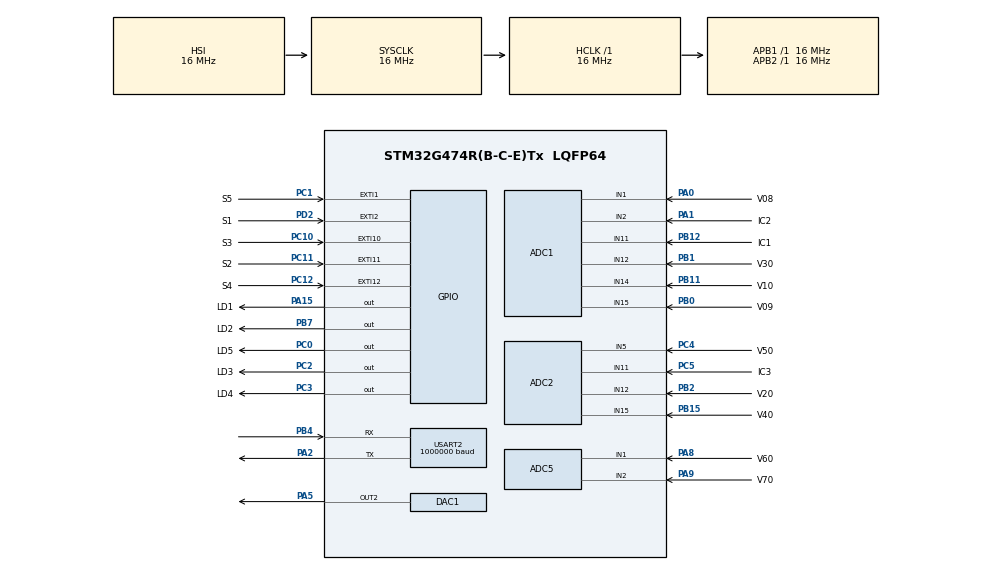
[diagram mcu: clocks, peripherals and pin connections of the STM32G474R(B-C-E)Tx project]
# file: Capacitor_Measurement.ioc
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ADC1.Channel-2\#ChannelRegularConversion=ADC_CHANNEL_1
ADC1.Channel-3\#ChannelRegularConversion=ADC_CHANNEL_2
ADC1.Channel-4\#ChannelRegularConversion=ADC_CHANNEL_11
ADC1.Channel-5\#ChannelRegularConversion=ADC_CHANNEL_12
ADC1.Channel-6\#ChannelRegularConversion=ADC_CHANNEL_14
ADC1.Channel-7\#ChannelRegularConversion=ADC_CHANNEL_15
ADC1.Channel-8\#ChannelRegularConversion=ADC_CHANNEL_VREFINT
ADC1.ClockPrescaler=ADC_CLOCK_ASYNC_DIV1
ADC1.DMAContinuousRequests=ENABLE
ADC1.ExternalTrigConv=ADC_EXTERNALTRIG_T3_TRGO
ADC1.NbrOfConversion=7
ADC1.NbrOfConversionFlag=1
ADC1.OffsetNumber-2\#ChannelRegularConversion=ADC_OFFSET_NONE
ADC1.OffsetNumber-3\#ChannelRegularConversion=ADC_OFFSET_NONE
ADC1.OffsetNumber-4\#ChannelRegularConversion=ADC_OFFSET_NONE
ADC1.OffsetNumber-5\#ChannelRegularConversion=ADC_OFFSET_NONE
ADC1.OffsetNumber-6\#ChannelRegularConversion=ADC_OFFSET_NONE
ADC1.OffsetNumber-7\#ChannelRegularConversion=ADC_OFFSET_NONE
ADC1.OffsetNumber-8\#ChannelRegularConversion=ADC_OFFSET_NONE
ADC1.OversamplingMode=ENABLE
ADC1.Rank-2\#ChannelRegularConversion=1
ADC1.Rank-3\#ChannelRegularConversion=2
ADC1.Rank-4\#ChannelRegularConversion=3
ADC1.Rank-5\#ChannelRegularConversion=4
ADC1.Rank-6\#ChannelRegularConversion=5
ADC1.Rank-7\#ChannelRegularConversion=6
ADC1.Rank-8\#ChannelRegularConversion=7
ADC1.Ratio=ADC_OVERSAMPLING_RATIO_32
ADC1.RightBitShift=ADC_RIGHTBITSHIFT_5
ADC1.SamplingTime-2\#ChannelRegularConversion=ADC_SAMPLETIME_12CYCLES_5
ADC1.SamplingTime-3\#ChannelRegularConversion=ADC_SAMPLETIME_12CYCLES_5
ADC1.SamplingTime-4\#ChannelRegularConversion=ADC_SAMPLETIME_12CYCLES_5
ADC1.SamplingTime-5\#ChannelRegularConversion=ADC_SAMPLETIME_12CYCLES_5
ADC1.SamplingTime-6\#ChannelRegularConversion=ADC_SAMPLETIME_12CYCLES_5
ADC1.SamplingTime-7\#ChannelRegularConversion=ADC_SAMPLETIME_12CYCLES_5
ADC1.SamplingTime-8\#ChannelRegularConversion=ADC_SAMPLETIME_640CYCLES_5
ADC1.master=1
ADC2.Channel-0\#ChannelRegularConversion=ADC_CHANNEL_5
ADC2.Channel-1\#ChannelRegularConversion=ADC_CHANNEL_11
ADC2.Channel-2\#ChannelRegularConversion=ADC_CHANNEL_12
ADC2.Channel-3\#ChannelRegularConversion=ADC_CHANNEL_15
ADC2.ClockPrescaler=ADC_CLOCK_ASYNC_DIV1
ADC2.DMAContinuousRequests=ENABLE
ADC2.EOCSelection=ADC_EOC_SINGLE_CONV
ADC2.ExternalTrigConv=ADC_EXTERNALTRIG_T3_TRGO
ADC2.NbrOfConversion=4
ADC2.NbrOfConversionFlag=1
ADC2.OffsetNumber-0\#ChannelRegularConversion=ADC_OFFSET_NONE
ADC2.OffsetNumber-1\#ChannelRegularConversion=ADC_OFFSET_NONE
ADC2.OffsetNumber-2\#ChannelRegularConversion=ADC_OFFSET_NONE
ADC2.OffsetNumber-3\#ChannelRegularConversion=ADC_OFFSET_NONE
ADC2.OversamplingMode=ENABLE
ADC2.Rank-0\#ChannelRegularConversion=1
ADC2.Rank-1\#ChannelRegularConversion=2
ADC2.Rank-2\#ChannelRegularConversion=3
ADC2.Rank-3\#ChannelRegularConversion=4
ADC2.Ratio=ADC_OVERSAMPLING_RATIO_32
ADC2.RightBitShift=ADC_RIGHTBITSHIFT_5
ADC2.SamplingTime-0\#ChannelRegularConversion=ADC_SAMPLETIME_12CYCLES_5
ADC2.SamplingTime-1\#ChannelRegularConversion=ADC_SAMPLETIME_12CYCLES_5
ADC2.SamplingTime-2\#ChannelRegularConversion=ADC_SAMPLETIME_12CYCLES_5
ADC2.SamplingTime-3\#ChannelRegularConversion=ADC_SAMPLETIME_12CYCLES_5
ADC5.Channel-0\#ChannelRegularConversion=ADC_CHANNEL_1
ADC5.Channel-1\#ChannelRegularConversion=ADC_CHANNEL_2
ADC5.Channel-2\#ChannelRegularConversion=ADC_CHANNEL_VREFINT
ADC5.ClockPrescaler=ADC_CLOCK_ASYNC_DIV1
ADC5.DMAContinuousRequests=ENABLE
ADC5.ExternalTrigConv=ADC_EXTERNALTRIG_T3_TRGO
ADC5.NbrOfConversion=3
ADC5.NbrOfConversionFlag=1
ADC5.OffsetNumber-0\#ChannelRegularConversion=ADC_OFFSET_NONE
ADC5.OffsetNumber-1\#ChannelRegularConversion=ADC_OFFSET_NONE
ADC5.OffsetNumber-2\#ChannelRegularConversion=ADC_OFFSET_NONE
ADC5.OversamplingMode=ENABLE
ADC5.Rank-0\#ChannelRegularConversion=1
ADC5.Rank-1\#ChannelRegularConversion=2
ADC5.Rank-2\#ChannelRegularConversion=3
ADC5.Ratio=ADC_OVERSAMPLING_RATIO_32
ADC5.RightBitShift=ADC_RIGHTBITSHIFT_5
ADC5.SamplingTime-0\#ChannelRegularConversion=ADC_SAMPLETIME_12CYCLES_5
ADC5.SamplingTime-1\#ChannelRegularConversion=ADC_SAMPLETIME_12CYCLES_5
ADC5.SamplingTime-2\#ChannelRegularConversion=ADC_SAMPLETIME_640CYCLES_5
DAC1.DAC_Channel-DAC_OUT2=DAC_CHANNEL_2
DAC1.DAC_Trigger_OUT2-DAC_OUT2=DAC_TRIGGER_NONE
DAC1.DAC_UserTrimming-DAC_OUT2=DAC_TRIMMING_FACTORY
Dma.ADC1.0.Direction=DMA_PERIPH_TO_MEMORY
Dma.ADC1.0.EventEnable=DISABLE
Dma.ADC1.0.Instance=DMA1_Channel1
Dma.ADC1.0.MemDataAlignment=DMA_MDATAALIGN_HALFWORD
Dma.ADC1.0.MemInc=DMA_MINC_ENABLE
Dma.ADC1.0.Mode=DMA_CIRCULAR
Dma.ADC1.0.PeriphDataAlignment=DMA_PDATAALIGN_HALFWORD
Dma.ADC1.0.PeriphInc=DMA_PINC_DISABLE
Dma.ADC1.0.Polarity=HAL_DMAMUX_REQ_GEN_RISING
Dma.ADC1.0.Priority=DMA_PRIORITY_LOW
Dma.ADC1.0.RequestNumber=1
Dma.ADC1.0.SignalID=NONE
Dma.ADC1.0.SyncEnable=DISABLE
Dma.ADC1.0.SyncPolarity=HAL_DMAMUX_SYNC_NO_EVENT
Dma.ADC1.0.SyncRequestNumber=1
Dma.ADC1.0.SyncSignalID=NONE
Dma.ADC2.2.Direction=DMA_PERIPH_TO_MEMORY
Dma.ADC2.2.EventEnable=DISABLE
Dma.ADC2.2.Instance=DMA1_Channel3
Dma.ADC2.2.MemDataAlignment=DMA_MDATAALIGN_HALFWORD
Dma.ADC2.2.MemInc=DMA_MINC_ENABLE
Dma.ADC2.2.Mode=DMA_CIRCULAR
Dma.ADC2.2.PeriphDataAlignment=DMA_PDATAALIGN_HALFWORD
Dma.ADC2.2.PeriphInc=DMA_PINC_DISABLE
Dma.ADC2.2.Polarity=HAL_DMAMUX_REQ_GEN_RISING
Dma.ADC2.2.Priority=DMA_PRIORITY_LOW
Dma.ADC2.2.RequestNumber=1
Dma.ADC2.2.SignalID=NONE
Dma.ADC2.2.SyncEnable=DISABLE
Dma.ADC2.2.SyncPolarity=HAL_DMAMUX_SYNC_NO_EVENT
Dma.ADC2.2.SyncRequestNumber=1
Dma.ADC2.2.SyncSignalID=NONE
Dma.ADC5.3.Direction=DMA_PERIPH_TO_MEMORY
Dma.ADC5.3.EventEnable=DISABLE
Dma.ADC5.3.Instance=DMA1_Channel5
Dma.ADC5.3.MemDataAlignment=DMA_MDATAALIGN_HALFWORD
Dma.ADC5.3.MemInc=DMA_MINC_ENABLE
Dma.ADC5.3.Mode=DMA_CIRCULAR
Dma.ADC5.3.PeriphDataAlignment=DMA_PDATAALIGN_HALFWORD
Dma.ADC5.3.PeriphInc=DMA_PINC_DISABLE
Dma.ADC5.3.Polarity=HAL_DMAMUX_REQ_GEN_RISING
Dma.ADC5.3.Priority=DMA_PRIORITY_LOW
Dma.ADC5.3.RequestNumber=1
Dma.ADC5.3.SignalID=NONE
Dma.ADC5.3.SyncEnable=DISABLE
Dma.ADC5.3.SyncPolarity=HAL_DMAMUX_SYNC_NO_EVENT
Dma.ADC5.3.SyncRequestNumber=1
Dma.ADC5.3.SyncSignalID=NONE
Dma.Request0=ADC1
Dma.Request1=USART2_TX
Dma.Request2=ADC2
Dma.Request3=ADC5
Dma.USART2_TX.1.Direction=DMA_MEMORY_TO_PERIPH
Dma.USART2_TX.1.EventEnable=DISABLE
Dma.USART2_TX.1.Instance=DMA1_Channel2
Dma.USART2_TX.1.MemDataAlignment=DMA_MDATAALIGN_BYTE
Dma.USART2_TX.1.MemInc=DMA_MINC_ENABLE
Dma.USART2_TX.1.Mode=DMA_NORMAL
Dma.USART2_TX.1.PeriphDataAlignment=DMA_PDATAALIGN_BYTE
Dma.USART2_TX.1.PeriphInc=DMA_PINC_DISABLE
Dma.USART2_TX.1.Polarity=HAL_DMAMUX_REQ_GEN_RISING
Dma.USART2_TX.1.Priority=DMA_PRIORITY_LOW
Dma.USART2_TX.1.RequestNumber=1
Dma.USART2_TX.1.SignalID=NONE
Dma.USART2_TX.1.SyncEnable=DISABLE
Dma.USART2_TX.1.SyncPolarity=HAL_DMAMUX_SYNC_NO_EVENT
Dma.USART2_TX.1.SyncRequestNumber=1
Dma.USART2_TX.1.SyncSignalID=NONE
Mcu.Family=STM32G4
Mcu.Name=STM32G474R(B-C-E)Tx
Mcu.Package=LQFP64
NVIC.ADC1_2_IRQn=true\:2\:0\:true\:false\:true\:true\:true\:true
NVIC.ADC5_IRQn=true\:2\:0\:true\:false\:true\:true\:true\:true
NVIC.DMA1_Channel1_IRQn=true\:0\:0\:true\:false\:true\:false\:true\:true
NVIC.DMA1_Channel2_IRQn=true\:0\:0\:true\:false\:true\:false\:true\:true
NVIC.DMA1_Channel3_IRQn=true\:0\:0\:true\:false\:true\:false\:true\:true
NVIC.DMA1_Channel5_IRQn=true\:4\:0\:true\:false\:true\:false\:true\:true
NVIC.EXTI15_10_IRQn=true\:5\:0\:true\:false\:true\:true\:true\:true
NVIC.EXTI1_IRQn=true\:5\:0\:true\:false\:true\:true\:true\:true
NVIC.EXTI2_IRQn=true\:5\:0\:true\:false\:true\:true\:true\:true
NVIC.PriorityGroup=NVIC_PRIORITYGROUP_4
NVIC.TIM2_IRQn=true\:0\:0\:true\:false\:true\:true\:true\:true
NVIC.TIM3_IRQn=true\:0\:0\:true\:false\:true\:true\:true\:true
NVIC.TIM4_IRQn=true\:6\:0\:true\:false\:true\:true\:true\:true
NVIC.TIM6_DAC_IRQn=true\:1\:0\:true\:false\:true\:true\:true\:true
NVIC.USART2_IRQn=true\:4\:0\:true\:false\:true\:true\:true\:true
PA0.GPIO_Label=V08
PA0.Mode=IN1-Single-Ended
PA0.Signal=ADC1_IN1
PA1.GPIO_Label=IC2
PA1.Mode=IN2-Single-Ended
PA1.Signal=ADC1_IN2
PA13.GPIO_Label=T_SWDIO
PA13.Mode=Serial_Wire
PA13.Signal=SYS_JTMS-SWDIO
PA14.GPIO_Label=T_SWCLK
PA14.Mode=Serial_Wire
PA14.Signal=SYS_JTCK-SWCLK
PA15.GPIO_Label=LD1
PA15.Signal=GPIO_Output
PA2.Mode=Asynchronous
PA2.Signal=USART2_TX
PA5.Signal=COMP_DAC12_group
PA8.GPIO_Label=V60
PA8.Mode=IN1-Single-Ended
PA8.Signal=ADC5_IN1
PA9.GPIO_Label=V70
PA9.Mode=IN2-Single-Ended
PA9.Signal=ADC5_IN2
PB0.GPIO_Label=V09
PB0.Mode=IN15-Single-Ended
PB0.Signal=ADC1_IN15
PB1.GPIO_Label=V30
PB1.Mode=IN12-Single-Ended
PB1.Signal=ADC1_IN12
PB11.GPIO_Label=V10
PB11.Mode=IN14-Single-Ended
PB11.Signal=ADC1_IN14
PB12.GPIO_Label=IC1
PB12.Mode=IN11-Single-Ended
PB12.Signal=ADC1_IN11
PB15.GPIO_Label=V40
PB15.Mode=IN15-Single-Ended
PB15.Signal=ADC2_IN15
PB2.GPIO_Label=V20
PB2.Mode=IN12-Single-Ended
PB2.Signal=ADC2_IN12
PB3.GPIO_Label=T_SWO
PB3.Signal=SYS_JTDO-SWO
PB4.Mode=Asynchronous
PB4.Signal=USART2_RX
PB7.GPIO_FM7=__NULL
PB7.GPIO_Label=LD2
PB7.Signal=GPIO_Output
PC0.GPIO_Label=LD5
PC0.Signal=GPIO_Output
PC1.GPIO_Label=S5
PC1.GPIO_ModeDefaultEXTI=GPIO_MODE_IT_FALLING
PC1.GPIO_PuPd=GPIO_PULLUP
PC1.Signal=GPXTI1
PC10.GPIO_Label=S3
PC10.Signal=GPXTI10
PC11.GPIO_Label=S2
PC11.GPIO_ModeDefaultEXTI=GPIO_MODE_IT_FALLING
PC11.GPIO_PuPd=GPIO_PULLUP
PC11.Signal=GPXTI11
PC12.GPIO_Label=S4
PC12.GPIO_ModeDefaultEXTI=GPIO_MODE_IT_FALLING
PC12.GPIO_PuPd=GPIO_PULLUP
PC12.Signal=GPXTI12
PC2.GPIO_Label=LD3
PC2.Signal=GPIO_Output
PC3.GPIO_Label=LD4
PC3.Signal=GPIO_Output
PC4.GPIO_Label=V50
PC4.Mode=IN5-Single-Ended
PC4.Signal=ADC2_IN5
PC5.GPIO_Label=IC3
PC5.Mode=IN11-Single-Ended
PC5.Signal=ADC2_IN11
PD2.GPIO_Label=S1
PD2.GPIO_ModeDefaultEXTI=GPIO_MODE_IT_FALLING
PD2.GPIO_PuPd=GPIO_PULLUP
PD2.Signal=GPXTI2
ProjectManager.HeapSize=0x200
ProjectManager.StackSize=0x400
ProjectManager.TargetToolchain=STM32CubeIDE
RCC.ADC12Freq_Value=16000000
RCC.ADC345Freq_Value=16000000
RCC.AHBFreq_Value=16000000
RCC.APB1Freq_Value=16000000
RCC.APB1TimFreq_Value=16000000
RCC.APB2Freq_Value=16000000
RCC.APB2TimFreq_Value=16000000
RCC.CortexFreq_Value=16000000
RCC.EXTERNAL_CLOCK_VALUE=12288000
RCC.HCLKFreq_Value=16000000
RCC.HSE_VALUE=24000000
RCC.HSI48_VALUE=48000000
RCC.HSI_VALUE=16000000
RCC.LSE_VALUE=32768
RCC.PLLN=12
RCC.PLLQ=RCC_PLLQ_DIV4
RCC.RTCClockSelection=RCC_RTCCLKSOURCE_LSE
RCC.SYSCLKFreq_VALUE=16000000
RCC.USBFreq_Value=48000000
RCC.VCOOutputFreq_Value=192000000
SH.COMP_DAC12_group.0=DAC1_OUT2,DAC_OUT2
TIM2.Prescaler=0
TIM3.PeriodNoDither=999
TIM3.Prescaler=15
TIM3.TIM_MasterOutputTrigger=TIM_TRGO_UPDATE
TIM4.Channel-PWM\ Generation3\ No\ Output=TIM_CHANNEL_3
TIM4.Channel-PWM\ Generation4\ No\ Output=TIM_CHANNEL_4
TIM4.OC4Preload_PWM=ENABLE
TIM4.OCFastMode_PWM-PWM\ Generation3\ No\ Output=TIM_OCFAST_ENABLE
TIM4.OCFastMode_PWM-PWM\ Generation4\ No\ Output=TIM_OCFAST_ENABLE
TIM4.OCMode_PWM-PWM\ Generation3\ No\ Output=TIM_OCMODE_COMBINED_PWM1
TIM4.OCMode_PWM-PWM\ Generation4\ No\ Output=TIM_OCMODE_COMBINED_PWM1
TIM4.OCPolarity_3=TIM_OCPOLARITY_HIGH
TIM4.OCPolarity_4=TIM_OCPOLARITY_HIGH
TIM4.PeriodNoDither=1999
TIM4.Prescaler=31999
TIM4.PulseNoDither_3=1
TIM4.PulseNoDither_4=50
TIM4.TIM_MasterOutputTrigger=TIM_TRGO_UPDATE
TIM4.TIM_MasterSlaveMode=TIM_MASTERSLAVEMODE_DISABLE
USART2.BaudRate=1000000
USART2.FIFOMode=FIFOMODE_ENABLE
USART2.VirtualMode-Asynchronous=VM_ASYNC
VP_ADC1_Vref_Input.Mode=IN-Vrefint
VP_ADC5_Vref_Input.Mode=IN-Vrefint
VP_SYS_VS_DBSignals.Mode=DisableDeadBatterySignals
VP_SYS_V_PVD_IN.Mode=Mode_PVD_Int
VP_TIM2_VS_ClockSourceINT.Mode=Internal
VP_TIM3_VS_ClockSourceINT.Mode=Internal
VP_TIM4_VS_ClockSourceINT.Mode=Internal
VP_TIM4_VS_no_output3.Mode=PWM Generation3 No Output
VP_TIM4_VS_no_output4.Mode=PWM Generation4 No Output
board=NUCLEO-G474RE

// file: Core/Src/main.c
/* USER CODE BEGIN Header */
/**
  ******************************************************************************
  * @file           : main.c
  * @brief          : Main program body with double buffering and raw data
  ******************************************************************************
  */
/* USER CODE END Header */
#include "main.h"
#include "adc.h"
#include "dac.h"
#include "dma.h"
#include "tim.h"
#include "usart.h"
#include "gpio.h"

/* USER CODE BEGIN Includes */
#include <string.h>
#include <stdio.h>
#include <stdbool.h>
#include <stdint.h>
#include "capacitance_analysis.h"
/* USER CODE END Includes */

/* USER CODE BEGIN PD */
#define ADC1_CHANNELS 7
#define ADC2_CHANNELS 4
#define ADC5_CHANNELS 3

#define DEFAULT_SAMPLE_COUNT 500
#define SMALL_SAMPLE_DURATION_MS 40000

#define CALIBRATION_DURATION_MS 5000
#define CALIBRATION_BASE_VALUE 2047

//~0.5A: 1003 | ~1A: 2047 | ~1.5A: 3130 | ~1.95A: 4095
#define DAC_VALUE	4095

// Voltage thresholds for GPIO control
#define THRESHOLD_HIGH	2600  // ~2.6V
#define THRESHOLD_LOW	THRESHOLD_HIGH*0.866   // ~2.2516V, 75% Energy

#define DEBOUNCE_DELAY_MS	500

// Offset value for current
#define IC1_OFFSET -9.7
#define IC2_OFFSET -3.8
#define IC3_OFFSET -3.0

// VREFINT calibration value
#define VREFINT_CAL (*((uint16_t*)VREFINT_CAL_ADDR))

#define LOAD_RESISTANCE_OHMS   12.0f

/* ── S4 Load Type: change this line to switch mode ──
 * Options: LOAD_TYPE_RESISTIVE
 *          LOAD_TYPE_CC
 * ─────────────────────────────────────────────────── */
static AnalysisEngine_t g_analysis;
volatile bool analysis_trigger_pending = false;
static char analysis_result_buf[ANALYSIS_RESULT_BUF_SIZE];
/* USER CODE END PD */

/* USER CODE BEGIN PV */
// Double buffers for ADC
uint16_t adc1_buffer[2][ADC1_CHANNELS];
uint16_t adc2_buffer[2][ADC2_CHANNELS];
uint16_t adc5_buffer[2][ADC5_CHANNELS];

// Accumulation buffers for averaging
uint32_t adc1_accumulator[ADC1_CHANNELS];
uint32_t adc2_accumulator[ADC2_CHANNELS];
uint32_t adc5_accumulator[ADC5_CHANNELS];

// Averaged results
uint16_t adc1_averaged[ADC1_CHANNELS];
uint16_t adc2_averaged[ADC2_CHANNELS];
uint16_t adc5_averaged[ADC5_CHANNELS];

uint32_t start_time = 0;

volatile uint16_t sample_count = 0;

volatile uint8_t adc_half_flags = 0;
volatile uint8_t adc_full_flags = 0;

volatile bool measurement_running = false;

volatile uint32_t last_button_press = 0;
volatile bool toggle_sample_count_pending = false;

volatile bool use_small_sample = false;  // Flag to track PF1 state
volatile bool small_sample_active = false;  // Flag to track if temporary mode is active
volatile uint32_t small_sample_start_time = 0;  // When small sample mode was activated

static uint64_t avg_start_timestamp = 0;

volatile bool mode_transition_pending = false;
volatile uint32_t tim2_overflow_count = 0;

volatile bool calibration_in_progress = false;
volatile uint32_t calibration_start_time = 0;
volatile float ic1_cal_sum = 0;
volatile float ic2_cal_sum = 0;
volatile float ic3_cal_sum = 0;
volatile float calibration_sample_count = 0;
volatile float ic1_offset_cal = IC1_OFFSET;
volatile float ic2_offset_cal = IC2_OFFSET;
volatile float ic3_offset_cal = IC3_OFFSET;

volatile bool voltage_safe = false;

typedef struct {
    uint32_t timestamp;
    uint8_t adc1_idx;
    uint8_t adc2_idx;
    uint8_t adc5_idx;
} DataSnapshot_t;

volatile DataSnapshot_t pending_data;
volatile bool data_ready_to_send = false;
volatile bool pending_transmission = false;

volatile bool dac_enabled = false;
volatile uint8_t pulse_state = 0;

static uint8_t  rt_windows_completed = 0;
static bool     rt_window_active     = false;

typedef enum {
    LOAD_TYPE_RESISTIVE = 0,
    LOAD_TYPE_CC        = 1
} LoadType_t;

volatile bool      resistive_analysis_active = false;
volatile LoadType_t s4_load_type             = LOAD_TYPE_RESISTIVE; /* toggles on each S4 arm */

/* USER CODE END PV */

void SystemClock_Config(void);
/* USER CODE BEGIN PFP */
static void TransmitDataPacket(void);
static void UpdateGPIOOutputs(uint16_t V10, uint16_t V20, uint16_t V30,
                              uint16_t V40, uint16_t V50, uint16_t V60,
                              uint16_t V70, uint16_t V08, uint16_t V09);
static void CheckSmallSampleTimeout(void);
static void ActivateSmallSampleMode(void);
static void DeactivateSmallSampleMode(void);
static void ResetMeasurement(void);
static void StartMeasurement(void);
static void StopMeasurement(void);
static void StartCalibration(void);
static void CheckAndCompleteCalibration(void);
static void EmergencyStop(void);
static void FeedAnalysisSample(uint16_t V10, uint16_t V20, uint16_t V30,
                               uint16_t V40, uint16_t V50, uint16_t V60,
                               uint16_t V70, uint16_t V08,
                               int16_t  IC1, int16_t  IC2, int16_t  IC3,
                               uint32_t timestamp_us);
uint64_t GetTimerTicks(void);
/* USER CODE END PFP */

/* USER CODE BEGIN 0 */
static void CheckAndCompleteCalibration(void)
{
    if (!calibration_in_progress)
        return;

    uint32_t current_time = HAL_GetTick();
    uint32_t elapsed_time = current_time - calibration_start_time;

    if (elapsed_time >= CALIBRATION_DURATION_MS) {
        calibration_in_progress = false;

        // Turn off calibration LED
        HAL_GPIO_WritePin(LD4_GPIO_Port, GPIO_PIN_4, GPIO_PIN_RESET);

        // Stop ADC and timer
        HAL_TIM_Base_Stop(&htim3);
        HAL_ADC_Stop_DMA(&hadc1);
        HAL_ADC_Stop_DMA(&hadc2);
        HAL_ADC_Stop_DMA(&hadc5);

        if (calibration_sample_count > 0) {
            // Calculate average raw values
            float ic1_avg = ic1_cal_sum / calibration_sample_count;
            float ic2_avg = ic2_cal_sum / calibration_sample_count;
            float ic3_avg = ic3_cal_sum / calibration_sample_count;

            ic1_offset_cal = (float)ic1_avg - CALIBRATION_BASE_VALUE;
            ic2_offset_cal = (float)ic2_avg - CALIBRATION_BASE_VALUE;
            ic3_offset_cal = (float)ic3_avg - CALIBRATION_BASE_VALUE;

            char msg[256];
            snprintf(msg, sizeof(msg),
                     "Calibration complete!\r\nIC1 offset: %.1f, IC2 offset: %.1f, IC3 offset: %.1f\r\n",
                     ic1_offset_cal, ic2_offset_cal, ic3_offset_cal);
            HAL_UART_Transmit(&huart2, (uint8_t*)msg, strlen(msg), HAL_MAX_DELAY);
            HAL_GPIO_WritePin(LD3_GPIO_Port, LD3_Pin, GPIO_PIN_RESET);

        } else {
            const char* msg = "Calibration failed: no samples collected\r\n";
            HAL_UART_Transmit(&huart2, (uint8_t*)msg, strlen(msg), HAL_MAX_DELAY);
        }
        // Reset accumulators
        ic1_cal_sum = 0;
        ic2_cal_sum = 0;
        ic3_cal_sum = 0;
        calibration_sample_count = 0;
    }
}

static void StartCalibration(void)
{
    if (measurement_running) {
        const char* msg = "Cannot calibrate during measurement. Stop measurement first.\r\n";
        HAL_UART_Transmit(&huart2, (uint8_t*)msg, strlen(msg), HAL_MAX_DELAY);
        return;
    }

    if (calibration_in_progress)
        return;

    const char* msg = "Calibration started (5 seconds)...\r\n";
    HAL_UART_Transmit(&huart2, (uint8_t*)msg, strlen(msg), HAL_MAX_DELAY);
    HAL_GPIO_WritePin(LD3_GPIO_Port, LD3_Pin, GPIO_PIN_SET);

    calibration_in_progress = true;
    calibration_start_time = HAL_GetTick();
    calibration_sample_count = 0;
    ic1_cal_sum = 0;
    ic2_cal_sum = 0;
    ic3_cal_sum = 0;

    // Start ADC DMA (measurement is not running at this point)
    HAL_ADC_Start_DMA(&hadc1, (uint32_t*)adc1_buffer, ADC1_CHANNELS*2);
    HAL_ADC_Start_DMA(&hadc2, (uint32_t*)adc2_buffer, ADC2_CHANNELS*2);
    HAL_ADC_Start_DMA(&hadc5, (uint32_t*)adc5_buffer, ADC5_CHANNELS*2);
    HAL_TIM_Base_Start_IT(&htim3);
}

static void UpdateGPIOOutputs(uint16_t V10, uint16_t V20, uint16_t V30,
                              uint16_t V40, uint16_t V50, uint16_t V60,
                              uint16_t V70, uint16_t V08, uint16_t V09)
{
	HAL_GPIO_WritePin(LD1_GPIO_Port, LD1_Pin, GPIO_PIN_RESET);

    if (((V10-V20)<=THRESHOLD_LOW) || ((V20-V30)<=THRESHOLD_LOW) || ((V30-V40)<=THRESHOLD_LOW) ||
        ((V40-V50)<=THRESHOLD_LOW) || ((V50-V60)<=THRESHOLD_LOW) || ((V60-V70)<=THRESHOLD_LOW) ||
        ((V70-V08)<=THRESHOLD_LOW) || (V08<=THRESHOLD_LOW) )
    {
        if (voltage_safe)
        {
            voltage_safe = false;

            const char* msg = "Voltage dropped below LOW threshold: DAC locked.\r\n";
            HAL_UART_Transmit(&huart2, (uint8_t*)msg, strlen(msg), HAL_MAX_DELAY);
        }
        if (dac_enabled) {
            dac_enabled = false;
            DeactivateSmallSampleMode();
            HAL_DAC_Stop(&hdac1, DAC_CHANNEL_2);
            HAL_DAC_SetValue(&hdac1, DAC_CHANNEL_2, DAC_ALIGN_12B_R, 0);
            HAL_TIM_PWM_Stop_IT(&htim4, TIM_CHANNEL_3);
            HAL_TIM_PWM_Stop_IT(&htim4, TIM_CHANNEL_4);

            analysis_trigger_pending = true;
        }
        HAL_GPIO_WritePin(LD5_GPIO_Port, LD5_Pin, GPIO_PIN_RESET);
        HAL_GPIO_WritePin(LD4_GPIO_Port, LD4_Pin, GPIO_PIN_RESET);
        HAL_GPIO_WritePin(LD1_GPIO_Port, LD1_Pin, GPIO_PIN_SET);

        return;
    }

    if (!voltage_safe) {
        voltage_safe = true;
        const char* msg = "Voltage recovered above LOW threshold: DAC unlocked.\r\n";
        HAL_UART_Transmit(&huart2, (uint8_t*)msg, strlen(msg), HAL_MAX_DELAY);
    }

    HAL_GPIO_WritePin(LD1_GPIO_Port, LD1_Pin, GPIO_PIN_RESET);

    if (((V10-V20)>=THRESHOLD_HIGH) || ((V20-V30)>=THRESHOLD_HIGH) || ((V30-V40)>=THRESHOLD_HIGH) ||
        ((V40-V50)>=THRESHOLD_HIGH) || ((V50-V60)>=THRESHOLD_HIGH) || ((V60-V70)>=THRESHOLD_HIGH) ||
        ((V70-V08)>=THRESHOLD_HIGH) || (V08>=THRESHOLD_HIGH))
    {
    	HAL_GPIO_WritePin(LD5_GPIO_Port, LD5_Pin, GPIO_PIN_SET);
    }

    if (!dac_enabled) {
    	HAL_GPIO_WritePin(LD4_GPIO_Port, LD4_Pin, GPIO_PIN_RESET);
    }
}

static void AccumulateSamples(void)
{
    // Get current buffer indices
    uint8_t idx1 = pending_data.adc1_idx;
    uint8_t idx2 = pending_data.adc2_idx;
    uint8_t idx5 = pending_data.adc5_idx;

    // Accumulate ADC1 channels
    for (int i = 0; i < ADC1_CHANNELS; i++) {
        adc1_accumulator[i] += adc1_buffer[idx1][i];
    }
    // Accumulate ADC2 channels
    for (int i = 0; i < ADC2_CHANNELS; i++) {
        adc2_accumulator[i] += adc2_buffer[idx2][i];
    }
    // Accumulate ADC5 channels
    for (int i = 0; i < ADC5_CHANNELS; i++) {
        adc5_accumulator[i] += adc5_buffer[idx5][i];
    }
    if (sample_count == 0) {
        avg_start_timestamp = pending_data.timestamp;
    }
    sample_count++;
}

static void CalculateAverages(uint16_t num_samples)
{
    // Calculate averages for ADC1
    for (int i = 0; i < ADC1_CHANNELS; i++) {
        adc1_averaged[i] = adc1_accumulator[i] / num_samples;
        adc1_accumulator[i] = 0;  // Reset accumulator
    }
    // Calculate averages for ADC2
    for (int i = 0; i < ADC2_CHANNELS; i++) {
        adc2_averaged[i] = adc2_accumulator[i] / num_samples;
        adc2_accumulator[i] = 0;  // Reset accumulator
    }
    // Calculate averages for ADC5
    for (int i = 0; i < ADC5_CHANNELS; i++) {
        adc5_averaged[i] = adc5_accumulator[i] / num_samples;
        adc5_accumulator[i] = 0;  // Reset accumulator
    }
    sample_count = 0;  // Reset sample counter
}

static void CheckSmallSampleTimeout(void)
{
    if (small_sample_active && measurement_running) {
        uint32_t current_time = HAL_GetTick();
        if ((current_time - small_sample_start_time) >= SMALL_SAMPLE_DURATION_MS) {
            DeactivateSmallSampleMode();
        }
    }
}

static void ActivateSmallSampleMode(void)
{
    if (!measurement_running) {
        return;  // Can only activate during measurement
    }
    // Always reset for fresh sampling
    memset(adc1_accumulator, 0, sizeof(adc1_accumulator));
    memset(adc2_accumulator, 0, sizeof(adc2_accumulator));
    memset(adc5_accumulator, 0, sizeof(adc5_accumulator));
    sample_count = 0;
    mode_transition_pending = false;
    small_sample_active = true;
    use_small_sample = true;
    small_sample_start_time = HAL_GetTick();

}

static void DeactivateSmallSampleMode(void)
{
    small_sample_active = false;
    use_small_sample = false;
    mode_transition_pending = false;
}

static void ResetMeasurement(void)
{
    // Reset accumulators
    memset(adc1_accumulator, 0, sizeof(adc1_accumulator));
    memset(adc2_accumulator, 0, sizeof(adc2_accumulator));
    memset(adc5_accumulator, 0, sizeof(adc5_accumulator));
    sample_count = 0;
    avg_start_timestamp = 0;
    DeactivateSmallSampleMode();
    // Reset GPIO LEDs
    HAL_GPIO_WritePin(LD4_GPIO_Port, LD4_Pin, GPIO_PIN_RESET);
    HAL_GPIO_WritePin(LD5_GPIO_Port, LD5_Pin, GPIO_PIN_RESET);

    __HAL_TIM_SET_COUNTER(&htim2, 0);
    tim2_overflow_count = 0;
}

static void StartMeasurement(void)
{
    if (measurement_running)
        return;
    measurement_running = true;
    ResetMeasurement();
    dac_enabled = false;
    HAL_DAC_Stop(&hdac1, DAC_CHANNEL_2);
    HAL_DAC_SetValue(&hdac1, DAC_CHANNEL_2, DAC_ALIGN_12B_R, 0);
    HAL_GPIO_WritePin(LD2_GPIO_Port, LD2_Pin, GPIO_PIN_SET);

    float actual_time_ms = ((htim3.Init.Prescaler + 1.0f) * (htim3.Init.Period + 1.0f)) / 16000.0f;
    char msg[128];
    snprintf(msg, sizeof(msg), "Measurement started (averaging %u samples), Sample Time: %.3f ms\r\n",
                 DEFAULT_SAMPLE_COUNT, actual_time_ms);
    HAL_UART_Transmit(&huart2, (uint8_t*)msg, strlen(msg), HAL_MAX_DELAY);
    HAL_TIM_Base_Start_IT(&htim3);

    HAL_ADC_Start_DMA(&hadc1, (uint32_t*)adc1_buffer, ADC1_CHANNELS*2);
    HAL_ADC_Start_DMA(&hadc2, (uint32_t*)adc2_buffer, ADC2_CHANNELS*2);
    HAL_ADC_Start_DMA(&hadc5, (uint32_t*)adc5_buffer, ADC5_CHANNELS*2);
}

static void StopMeasurement(void)
{
    measurement_running = false;
    data_ready_to_send = false;
    pending_transmission = false;
    analysis_trigger_pending = false;
    dac_enabled = false;
    pulse_state = 0;

    HAL_TIM_Base_Stop_IT(&htim3);
    HAL_TIM_PWM_Stop_IT(&htim4, TIM_CHANNEL_3);
    HAL_TIM_PWM_Stop_IT(&htim4, TIM_CHANNEL_4);

    HAL_DAC_Stop(&hdac1, DAC_CHANNEL_2);
    HAL_DAC_SetValue(&hdac1, DAC_CHANNEL_2, DAC_ALIGN_12B_R, 0);

    HAL_TIM_Base_Stop_IT(&htim3);

    HAL_ADC_Stop_DMA(&hadc1);
    HAL_ADC_Stop_DMA(&hadc2);
    HAL_ADC_Stop_DMA(&hadc5);

    ResetMeasurement();
    HAL_GPIO_WritePin(LD2_GPIO_Port, LD2_Pin, GPIO_PIN_RESET);
    const char* msg = "Measurement stopped\r\n";
    HAL_UART_Transmit(&huart2, (uint8_t*)msg, strlen(msg), HAL_MAX_DELAY);
}

static void EmergencyStop(void)
{
    measurement_running = false;
    dac_enabled = false;

    HAL_DAC_Stop(&hdac1, DAC_CHANNEL_2);
    HAL_DAC_SetValue(&hdac1, DAC_CHANNEL_2, DAC_ALIGN_12B_R, 0);
    HAL_GPIO_WritePin(LD1_GPIO_Port, LD1_Pin, GPIO_PIN_SET);
    HAL_GPIO_WritePin(LD3_GPIO_Port, LD3_Pin, GPIO_PIN_RESET);

    HAL_TIM_Base_Stop(&htim3);

    HAL_ADC_Stop_DMA(&hadc1);
    HAL_ADC_Stop_DMA(&hadc2);
    HAL_ADC_Stop_DMA(&hadc5);

    ResetMeasurement();

    const char* msg = "Emergency stopped\r\n";
    HAL_UART_Transmit(&huart2, (uint8_t*)msg, strlen(msg), HAL_MAX_DELAY);
}

static void TransmitDataPacket(void)
{
    if (!data_ready_to_send && !pending_transmission)
        return;

    uint64_t ticks = GetTimerTicks();
    double elapsed_us = (double)ticks / 16.0f;
    uint64_t time_int = (uint64_t)elapsed_us;
    // Clear the data ready flag NOW
    data_ready_to_send = false;
    pending_transmission = false;
    // Check if small sample mode should timeout
    CheckSmallSampleTimeout();

    if (use_small_sample) {
        // ===== SMALL SAMPLE MODE =====
        AccumulateSamples();

        if (sample_count >= SMALL_SAMPLE_COUNT) {
            CalculateAverages(SMALL_SAMPLE_COUNT);

            uint16_t R1  = adc1_averaged[6];
            uint16_t R5  = adc5_averaged[2];

            float Vref1 = 3.0f * VREFINT_CAL * 1000.0f / R1;
            float Vref5 = 3.0f * VREFINT_CAL * 1000.0f / R5;

            float IC1_f = (float)adc1_averaged[2];
            float IC2_f = (float)adc1_averaged[1];
            float IC3_f = (float)adc2_averaged[1];

            IC1_f = (((IC1_f - ic1_offset_cal) * Vref1 / 4095.0f) - (Vref1 / 2.0f)) / (0.2f);
            IC2_f = -(((IC2_f - ic2_offset_cal) * Vref1 / 4095.0f) - (Vref1 / 2.0f)) / (18.34f * 0.038f);
            IC3_f = (((IC3_f - ic3_offset_cal) * Vref1 / 4095.0f) - (Vref1 / 2.0f)) / (18.22f * 0.0372f);
            float V09_f = IC2_f * 0.038f;

            float fV10 = (adc1_averaged[4] * Vref1 * 8.0f / 4095.0f) - V09_f;
            float fV20 = (adc2_averaged[2] * Vref1 * 7.0f / 4095.0f) - V09_f;
            float fV30 = (adc1_averaged[3] * Vref1 * 6.0f / 4095.0f) - V09_f;
            float fV40 = (adc2_averaged[3] * Vref5 * 5.0f / 4095.0f) - V09_f;
            float fV50 = (adc2_averaged[0] * Vref5 * 4.0f / 4095.0f) - V09_f;
            float fV60 = (adc5_averaged[0] * Vref1 * 3.0f / 4095.0f) - V09_f;
            float fV70 = (adc5_averaged[1] * Vref1 * 2.0f / 4095.0f) - V09_f;
            float fV08 = (adc1_averaged[0] * Vref1 * 1.0f / 4095.0f) - V09_f;

            uint16_t V10 = (fV10 > 0.0f) ? (uint16_t)fV10 : 0;
            uint16_t V20 = (fV20 > 0.0f) ? (uint16_t)fV20 : 0;
            uint16_t V30 = (fV30 > 0.0f) ? (uint16_t)fV30 : 0;
            uint16_t V40 = (fV40 > 0.0f) ? (uint16_t)fV40 : 0;
            uint16_t V50 = (fV50 > 0.0f) ? (uint16_t)fV50 : 0;
            uint16_t V60 = (fV60 > 0.0f) ? (uint16_t)fV60 : 0;
            uint16_t V70 = (fV70 > 0.0f) ? (uint16_t)fV70 : 0;
            uint16_t V08 = (fV08 > 0.0f) ? (uint16_t)fV08 : 0;

            int16_t IC1 = (int16_t)IC1_f;
            int16_t IC2 = (int16_t)IC2_f;
            int16_t IC3 = (int16_t)IC3_f;
            int16_t V09 = (int16_t)V09_f;

            UpdateGPIOOutputs(V10,V20,V30,V40,V50,V60,V70,V08,V09);

            if (dac_enabled && !analysis_trigger_pending) {
                FeedAnalysisSample(V10, V20, V30, V40, V50, V60, V70, V08,
                                   IC1, IC2, IC3,
                                   (uint32_t)time_int);
            }
        }
    } else {
        // ===== DEFAULT AVERAGING MODE =====
        AccumulateSamples();

        if (sample_count >= DEFAULT_SAMPLE_COUNT) {
            CalculateAverages(DEFAULT_SAMPLE_COUNT);

            uint64_t t_end = pending_data.timestamp;

            // midpoint = t1 + (t2 - t1)/2
            pending_data.timestamp =
                avg_start_timestamp + (t_end - avg_start_timestamp) / 2;

            // Handle mode transition: small sample -> averaging
            if (mode_transition_pending) {
                mode_transition_pending = false;
                use_small_sample = true;

                for(int i=0;i<ADC1_CHANNELS;i++) adc1_accumulator[i]=0;
                for(int i=0;i<ADC2_CHANNELS;i++) adc2_accumulator[i]=0;
                for(int i=0;i<ADC5_CHANNELS;i++) adc5_accumulator[i]=0;
                sample_count = 0;
                avg_start_timestamp = 0;

                HAL_GPIO_WritePin(LD2_GPIO_Port, LD2_Pin, GPIO_PIN_SET);
                data_ready_to_send = true;
                return;
            }

            uint16_t R1  = adc1_averaged[6];
            uint16_t R5  = adc5_averaged[2];

            float Vref1 = 3.0f * VREFINT_CAL * 1000.0f / R1;
            float Vref5 = 3.0f * VREFINT_CAL * 1000.0f / R5;

            float IC1_f = (float)adc1_averaged[2];
            float IC2_f = (float)adc1_averaged[1];
            float IC3_f = (float)adc2_averaged[1];

            IC1_f = (((IC1_f - ic1_offset_cal) * Vref1 / 4095.0f) - (Vref1 / 2.0f)) / (0.2f);
            IC2_f = -(((IC2_f - ic2_offset_cal) * Vref1 / 4095.0f) - (Vref1 / 2.0f)) / (18.34f * 0.038f);
            IC3_f = (((IC3_f - ic3_offset_cal) * Vref1 / 4095.0f) - (Vref1 / 2.0f)) / (18.22f * 0.0372f);
            float V09_f = IC2_f * 0.038f;

            float fV10 = (adc1_averaged[4] * Vref1 * 8.0f / 4095.0f) - V09_f;
            float fV20 = (adc2_averaged[2] * Vref1 * 7.0f / 4095.0f) - V09_f;
            float fV30 = (adc1_averaged[3] * Vref1 * 6.0f / 4095.0f) - V09_f;
            float fV40 = (adc2_averaged[3] * Vref5 * 5.0f / 4095.0f) - V09_f;
            float fV50 = (adc2_averaged[0] * Vref5 * 4.0f / 4095.0f) - V09_f;
            float fV60 = (adc5_averaged[0] * Vref1 * 3.0f / 4095.0f) - V09_f;
            float fV70 = (adc5_averaged[1] * Vref1 * 2.0f / 4095.0f) - V09_f;
            float fV08 = (adc1_averaged[0] * Vref1 * 1.0f / 4095.0f) - V09_f;

            uint16_t V10 = (fV10 > 0.0f) ? (uint16_t)fV10 : 0;
            uint16_t V20 = (fV20 > 0.0f) ? (uint16_t)fV20 : 0;
            uint16_t V30 = (fV30 > 0.0f) ? (uint16_t)fV30 : 0;
            uint16_t V40 = (fV40 > 0.0f) ? (uint16_t)fV40 : 0;
            uint16_t V50 = (fV50 > 0.0f) ? (uint16_t)fV50 : 0;
            uint16_t V60 = (fV60 > 0.0f) ? (uint16_t)fV60 : 0;
            uint16_t V70 = (fV70 > 0.0f) ? (uint16_t)fV70 : 0;
            uint16_t V08 = (fV08 > 0.0f) ? (uint16_t)fV08 : 0;

            int16_t IC1 = (int16_t)IC1_f;
            int16_t IC2 = (int16_t)IC2_f;
            int16_t IC3 = (int16_t)IC3_f;
            int16_t V09 = (int16_t)V09_f;

            UpdateGPIOOutputs(V10,V20,V30,V40,V50,V60,V70,V08,V09);

            if (dac_enabled && !analysis_trigger_pending) {
                FeedAnalysisSample(V10, V20, V30, V40, V50, V60, V70, V08,
                                   IC1, IC2, IC3,
                                   (uint32_t)time_int);
            }
        }
    }
}

uint64_t GetTimerTicks(void)
{
    uint32_t low;
    uint32_t high;

    __disable_irq();
    high = tim2_overflow_count;
    low  = __HAL_TIM_GET_COUNTER(&htim2);
    if (__HAL_TIM_GET_FLAG(&htim2, TIM_FLAG_UPDATE) != RESET)
    {
        high++;
        low = __HAL_TIM_GET_COUNTER(&htim2);
    }
    __enable_irq();

    return ((uint64_t)high << 32) | low;
}

static void FeedAnalysisSample(uint16_t V10, uint16_t V20, uint16_t V30,
                               uint16_t V40, uint16_t V50, uint16_t V60,
                               uint16_t V70, uint16_t V08,
                               int16_t  IC1, int16_t  IC2, int16_t  IC3,
                               uint32_t timestamp_us)
{
    /* ── Real-time window detection ────────────────────────────────────────
     * Count completed discharge windows BEFORE feeding to analysis engine.
     * ─────────────────────────────────────────────────────────────────── */
    float I_now = (float)(IC2 < 0 ? -IC2 : IC2) +
                  (float)(IC3 < 0 ? -IC3 : IC3);   /* |IC2| + |IC3| in mA */

    if (!rt_window_active) {
        /* Window OPENS when current exceeds level threshold */
        if (I_now > (float)CURRENT_LEVEL_THRESHOLD_MA) {
            rt_window_active = true;
        }
    } else {
        /* Window CLOSES when current drops below noise floor */
        if (I_now < (float)NOISE_FLOOR_MA) {
            rt_window_active = false;
            rt_windows_completed++;

            /* ── MAX_WINDOWS reached: stop collecting, trigger analysis ── */
            if (rt_windows_completed >= MAX_WINDOWS) {
                analysis_trigger_pending = true;
                return;
            }
        }
    }

    /* ── Already triggered, don't feed any more samples ── */
    if (analysis_trigger_pending)
        return;

    /* ── Feed sample to analysis engine ── */
    int16_t voltages[NUM_CAPACITORS] = {
        (int16_t)V10, (int16_t)V20, (int16_t)V30, (int16_t)V40,
        (int16_t)V50, (int16_t)V60, (int16_t)V70, (int16_t)V08
    };

    bool keep_going = Analysis_AddSample(&g_analysis,
                                          timestamp_us,
                                          voltages,
                                          IC1, IC2, IC3);
    if (!keep_going) {
        analysis_trigger_pending = true;
    }
}

static void RunAnalysisAndReport(void)
{
    analysis_trigger_pending = false;
    bool was_resistive = resistive_analysis_active;
    /* ── Stop ONLY DAC/PWM, keep measurement alive ── */
    dac_enabled               = false;
    pulse_state               = 0;
    resistive_analysis_active = false;
    rt_windows_completed      = 0;
    rt_window_active          = false;

    HAL_TIM_PWM_Stop_IT(&htim4, TIM_CHANNEL_3);
    HAL_TIM_PWM_Stop_IT(&htim4, TIM_CHANNEL_4);
    HAL_DAC_Stop(&hdac1, DAC_CHANNEL_2);
    HAL_DAC_SetValue(&hdac1, DAC_CHANNEL_2, DAC_ALIGN_12B_R, 0);

    /* ── Reset only sample accumulators, NOT TIM2 ── */
    memset(adc1_accumulator, 0, sizeof(adc1_accumulator));
    memset(adc2_accumulator, 0, sizeof(adc2_accumulator));
    memset(adc5_accumulator, 0, sizeof(adc5_accumulator));
    sample_count        = 0;
    avg_start_timestamp = 0;
    DeactivateSmallSampleMode();

    /* ── Raw CSV ── */
    const char *hdr =
        "\r\n=== RAW DISCHARGE DATA ===\r\n"
        "Time, V10, V20, V30, V40, V50, V60, V70, V08, V09, IC1, IC2, IC3\r\n";
    HAL_UART_Transmit(&huart2, (uint8_t*)hdr, strlen(hdr), HAL_MAX_DELAY);
    char line[128];
    for (uint16_t i = 0; i < g_analysis.sample_count; i++) {
        DataSample_t *s = &g_analysis.samples[i];
        int n = snprintf(line, sizeof(line),
            "%.3f,%d,%d,%d,%d,%d,%d,%d,%d,%.1f,%.0f,%.0f,%.0f\r\n",
            s->timestamp_us/1000.0f,
            s->voltage[0], s->voltage[1], s->voltage[2], s->voltage[3],
            s->voltage[4], s->voltage[5], s->voltage[6], s->voltage[7],
			s->current_i2*0.038f,
            s->current_i1, s->current_i2, s->current_i3);
        if (n > 0)
            HAL_UART_Transmit(&huart2, (uint8_t*)line, n, HAL_MAX_DELAY);
    }
    /* ── Sanity check ── */
    if (g_analysis.sample_count < 50) {
        const char *msg = "ERROR: Too few samples.\r\n";
        HAL_UART_Transmit(&huart2, (uint8_t*)msg, strlen(msg), HAL_MAX_DELAY);
        return;
    }

    /* ── Detect all windows ── */
    uint8_t nwin = Analysis_DetectAllWindows(&g_analysis);
    {
        char tmp[64];
        int n = snprintf(tmp, sizeof(tmp),
                         "\r\nDetected %u window(s), %u samples collected.\r\n",
                         (unsigned)nwin, (unsigned)g_analysis.sample_count);
        if (n > 0) HAL_UART_Transmit(&huart2, (uint8_t*)tmp, (uint16_t)n, HAL_MAX_DELAY);
    }

    if (nwin == 0) {
        /* Fallback: treat entire dataset as one discharge window */
        const char *msg = "WARNING: No window found. Using full dataset.\r\n";
        HAL_UART_Transmit(&huart2, (uint8_t*)msg, strlen(msg), HAL_MAX_DELAY);
        DischargeWindow_t *dw = &g_analysis.detected_windows[0];
        dw->start_idx   = 0;
        dw->end_idx     = (uint16_t)(g_analysis.sample_count - 1);
        dw->t_start_ms  = g_analysis.samples[0].timestamp_us/1000.0f;
        dw->t_end_ms    = g_analysis.samples[g_analysis.sample_count-1].timestamp_us/1000.0f;
        dw->duration_ms = dw->t_end_ms - dw->t_start_ms;
        dw->valid       = true;
        strncpy(dw->type, "discharge", 15);
        dw->type[15]    = '\0';
        g_analysis.window_count = 1;
    }

    /* ── Regression on all windows ── */
    if (!Analysis_PerformAllRegressions(&g_analysis)) {
        const char *msg = "ERROR: Regression failed.\r\n";
        HAL_UART_Transmit(&huart2, (uint8_t*)msg, strlen(msg), HAL_MAX_DELAY);
        return;
    }

    if (was_resistive  && g_analysis.window_count > 0)
    {
        resistive_analysis_active = false;
        const char* sep = "\r\n=== CAPACITANCE & ESR RESULTS ===\r\n";
        HAL_UART_Transmit(&huart2, (uint8_t*)sep, strlen(sep), HAL_MAX_DELAY);
        char mode_line[64];
        snprintf(mode_line, sizeof(mode_line), "Mode: %s load  |  R = %.2f Ohm\r\n",
                (s4_load_type == LOAD_TYPE_RESISTIVE) ? "RESISTIVE" : "CONST-CURRENT",
                LOAD_RESISTANCE_OHMS);
        HAL_UART_Transmit(&huart2, (uint8_t*)mode_line, strlen(mode_line), HAL_MAX_DELAY);

        for (uint8_t w = 0; w < g_analysis.window_count; w++)
        {
            DischargeWindow_t *dw = &g_analysis.detected_windows[w];
                if (!dw->valid) continue;

                /* ── Guard: need at least 2 samples in window ── */
                if (dw->end_idx <= dw->start_idx) continue;

                DataSample_t *s0 = &g_analysis.samples[dw->start_idx];      /* first sample  */
                DataSample_t *s1 = &g_analysis.samples[dw->start_idx + 1];  /* second sample */
                DataSample_t *sE = &g_analysis.samples[dw->end_idx];        /* last sample   */

                /* ── Pack voltage = V10 (index 0, highest node) ── */
                float V0_mV   = (float)s0->voltage[0];   /* mV at window start  */
                float V_end_mV= (float)sE->voltage[0];   /* mV at window end    */

                /* ── Initial current from sensors (mA) ── */
                float I0_mA = fabsf((float)s0->current_i2)
                            + fabsf((float)s0->current_i3);
                float I0_A  = I0_mA * 1e-3f;

                /* ── Window timing ── */
                float t_span_s = dw->duration_ms * 1e-3f;

                /* ── ESR: instantaneous voltage drop at load connection ──────────
                 * V_oc = last sample BEFORE window, V0 = first sample under load
                 * ESR = ΔV / I₀
                 * ──────────────────────────────────────────────────────────────── */
                float V_oc_mV = (dw->start_idx > 0)
                              ? (float)g_analysis.samples[dw->start_idx + 2].voltage[0]
                              : V0_mV;
                float dV_drop_mV = V_oc_mV - V0_mV;
                float ESR_ohm    = (I0_A > 0.001f)
                                 ? ((dV_drop_mV) / I0_A)
                                 : ((-dV_drop_mV )/I0_A);

                /* ── Capacitance ─────────────────────────────────────────────────
                 * RESISTIVE:  V(t) = V0·e^(-t/RC)  →  τ = -t/ln(Vend/V0)
                 *             C = τ / R
                 *
                 * CONST-CURR: V(t) = V0 - (I/C)·t  (linear)
                 *             C = I·Δt / ΔV
                 * ──────────────────────────────────────────────────────────────── */
                float C_F = -1.0f;

                if (s4_load_type == LOAD_TYPE_RESISTIVE)
                {
                    char dbg[128];
                    snprintf(dbg, sizeof(dbg),
                        "  [DBG] V0=%.0f V_end=%.0f t_span=%.4f s\r\n",
                        V0_mV, V_end_mV, t_span_s);
                    HAL_UART_Transmit(&huart2, (uint8_t*)dbg, strlen(dbg), HAL_MAX_DELAY);
                    /* Use two-point τ as sanity check */
                    float V1_mV = (float)s1->voltage[0];
                    float dt_s  = (s1->timestamp_us - s0->timestamp_us) * 1e-6f;
                    float tau_step = -1.0f;
                    tau_step = -dt_s / logf(V1_mV / V0_mV);

                    /* Full-window τ is more robust */
                    float tau_full = -1.0f;
                    tau_full = -t_span_s / logf(V_end_mV / V0_mV);
                    C_F = (tau_full / LOAD_RESISTANCE_OHMS);

                    char res[256];
                    snprintf(res, sizeof(res),
                        "Win %u [RESISTIVE]: V_oc=%.0f mV, V_start=%.0f mV, V_end=%.0f mV, t=%.1f ms\r\n"
                        "  ESR = %.1f Ohm  (dV=%.1f mV, I0=%.1f mA)\r\n"
                        "  tau = %.1f s  |  C = %.2f F\r\n"
                        "  tau_step = %.5f s  (2-point sanity)\r\n",
                        (unsigned)w,
                        V_oc_mV, V0_mV, V_end_mV, dw->duration_ms,
                        ESR_ohm, dV_drop_mV, I0_mA,
                        (tau_full),
                        (C_F),
                        (tau_step));
                    HAL_UART_Transmit(&huart2, (uint8_t*)res, strlen(res), HAL_MAX_DELAY);
                }
                else  /* LOAD_TYPE_CC */
                {
                    /* Average current over window for better accuracy */
                    float I_avg_mA = 0.0f;
                    uint16_t count = 0;
                    for (uint16_t i = dw->start_idx; i <= dw->end_idx; i++) {
                        I_avg_mA += fabsf((float)g_analysis.samples[i].current_i2)
                                  + fabsf((float)g_analysis.samples[i].current_i3);
                        count++;
                    }
                    if (count > 0) I_avg_mA /= (float)count;
                    float I_avg_A = I_avg_mA * 1e-3f;

                    /* C = I·Δt / ΔV  (linear discharge model) */
                    float dV_mV = V0_mV - V_end_mV;   /* total voltage drop over window */
                    if (dV_mV > 0.0f && I_avg_A > 0.001f)
                        C_F = (I_avg_A * t_span_s) / (dV_mV * 1e-3f);

                    /* dV/dt linearity check: compare first-half vs second-half slope */
                    uint16_t mid_idx = (dw->start_idx + dw->end_idx) / 2;
                    float V_mid_mV   = (float)g_analysis.samples[mid_idx].voltage[0];
                    float t_half_s   = t_span_s / 2.0f;
                    float slope1     = (t_half_s > 0.0f) ? ((V0_mV - V_mid_mV) / t_half_s) : 0.0f;
                    float slope2     = (t_half_s > 0.0f) ? ((V_mid_mV - V_end_mV) / t_half_s) : 0.0f;
                    float linearity  = (slope1 > 0.0f) ? (slope2 / slope1) : 0.0f;
                    /* linearity ≈ 1.0 → good CC, far from 1.0 → not true CC load */

                    char res[320];
                    snprintf(res, sizeof(res),
                        "Win %u [CONST-CURR]: V_oc=%.0f mV, V_start=%.0f mV, V_end=%.0f mV, t=%.1f ms\r\n"
                        "  ESR   = %.4f Ohm  (dV=%.1f mV, I0=%.1f mA)\r\n"
                        "  I_avg = %.2f mA  |  dV = %.1f mV  |  C = %.2f F\r\n"
                        "  Linearity check (slope2/slope1) = %.3f  (1.0 = ideal CC)\r\n",
                        (unsigned)w,
                        V_oc_mV, V0_mV, V_end_mV, dw->duration_ms,
                        (ESR_ohm > 0.0f ? ESR_ohm : 0.0f), dV_drop_mV, I0_mA,
                        I_avg_mA, dV_mV,
                        (C_F > 0.0f ? C_F : 0.0f),
                        linearity);
                    HAL_UART_Transmit(&huart2, (uint8_t*)res, strlen(res), HAL_MAX_DELAY);
                }

                /* ── Per-cell ESR (common to both modes) ── */
                if (I0_A > 0.001f)
                {
                    const char* cell_hdr = "  Per-cell ESR:\r\n";
                    HAL_UART_Transmit(&huart2, (uint8_t*)cell_hdr, strlen(cell_hdr), HAL_MAX_DELAY);
                    char cell_line[128];
                    uint8_t prev_idx = (dw->start_idx > 0) ? (dw->start_idx - 1) : dw->start_idx;
                    float tau = -1.0f;

                    for (uint8_t c = 0; c < 8; c++) {
                        float Voc_cell  = (float)(g_analysis.samples[prev_idx].voltage[c])*1e-3;
                        float Vld_cell  = (float)(s0->voltage[c])*1e-3;
                        float esr_cell  = (Voc_cell - Vld_cell) / I0_A;
                        float V_start 	= (float)(g_analysis.samples[dw->start_idx].voltage[c])*1e-3;
                        float V_end 	= (float)(g_analysis.samples[dw->end_idx].voltage[c])*1e-3;

                        /* Full-window τ is more robust */
                        tau = -t_span_s / logf(V_end / V_start);
                        C_F = (tau / LOAD_RESISTANCE_OHMS);

                        snprintf(cell_line, sizeof(cell_line),
                            "    V%u: ESR = %3.1f mOhm, (%3.3f, %3.3f), %3.3f, %3.3f, %3.2f, %4.4f\r\n",
                            (unsigned)(c+1),   /* V10, V20 ... V70 */
                            (esr_cell > 0.0f ? esr_cell : -esr_cell),
							Vld_cell,Voc_cell,
							V_start,
							V_end, C_F, tau);
                        HAL_UART_Transmit(&huart2, (uint8_t*)cell_line, strlen(cell_line), HAL_MAX_DELAY);
                    }

                }
            }
    }
    /* ── Print results ── */
    uint16_t len = Analysis_FormatResults(&g_analysis,
                                           analysis_result_buf,
                                           ANALYSIS_RESULT_BUF_SIZE);
    if (len > 0)
        HAL_UART_Transmit(&huart2, (uint8_t*)analysis_result_buf, len, HAL_MAX_DELAY);

    /* ── Reset for next run ── */
    Analysis_Reset(&g_analysis);
    HAL_GPIO_WritePin(LD5_GPIO_Port, LD5_Pin, GPIO_PIN_RESET);
}
/* USER CODE END 0 */

int main(void)
{

  /* MCU Configuration--------------------------------------------------------*/

  /* Reset of all peripherals, Initializes the Flash interface and the Systick. */
  HAL_Init();

  /* Configure the system clock */
  SystemClock_Config();

  /* Initialize all configured peripherals */
  MX_GPIO_Init();
  MX_DMA_Init();
  MX_USART2_UART_Init();
  MX_DAC1_Init();
  MX_ADC1_Init();
  MX_TIM3_Init();
  MX_ADC2_Init();
  MX_ADC5_Init();
  MX_TIM2_Init();
  MX_TIM4_Init();
  /* USER CODE BEGIN 2 */
  ADC12_COMMON->CCR |= ADC_CCR_VREFEN;
  ADC345_COMMON->CCR |= ADC_CCR_VREFEN;
  HAL_Delay(10);
  if (HAL_ADCEx_Calibration_Start(&hadc1, ADC_SINGLE_ENDED) != HAL_OK ||
         HAL_ADCEx_Calibration_Start(&hadc2, ADC_SINGLE_ENDED) != HAL_OK ||
         HAL_ADCEx_Calibration_Start(&hadc5, ADC_SINGLE_ENDED) != HAL_OK) {
         Error_Handler();
     }
     HAL_TIM_Base_Start_IT(&htim3);
     HAL_TIM_Base_Start_IT(&htim2);

     HAL_DAC_Start(&hdac1, DAC_CHANNEL_2);
     HAL_DAC_SetValue(&hdac1, DAC_CHANNEL_2, DAC_ALIGN_12B_R, 0);

     // Start ADC DMA conversions
     HAL_ADC_Start_DMA(&hadc1, (uint32_t*)adc1_buffer, ADC1_CHANNELS*2);
     HAL_ADC_Start_DMA(&hadc2, (uint32_t*)adc2_buffer, ADC2_CHANNELS*2);
     HAL_ADC_Start_DMA(&hadc5, (uint32_t*)adc5_buffer, ADC5_CHANNELS*2);

     HAL_GPIO_WritePin(LD1_GPIO_Port, LD1_Pin, GPIO_PIN_RESET);

     const char* header = "Time, V10, V20, V30, V40, V50, V60, V70, V08, V09, IC1, IC2, IC3\r\n";
     HAL_UART_Transmit(&huart2, (uint8_t*)header, strlen(header), HAL_MAX_DELAY);
     HAL_Delay(1000);

  /* USER CODE END 2 */

  /* Infinite loop */
  while (1)
  {

    /* USER CODE BEGIN 3 */
	  if (analysis_trigger_pending) {
	              RunAnalysisAndReport();
	          }
  }
  /* USER CODE END 3 */
}

void SystemClock_Config(void)
{
  RCC_OscInitTypeDef RCC_OscInitStruct = {0};
  RCC_ClkInitTypeDef RCC_ClkInitStruct = {0};

  /** Configure the main internal regulator output voltage
  */
  HAL_PWREx_ControlVoltageScaling(PWR_REGULATOR_VOLTAGE_SCALE1);

  /** Initializes the RCC Oscillators according to the specified parameters
  * in the RCC_OscInitTypeDef structure.
  */
  RCC_OscInitStruct.OscillatorType = RCC_OSCILLATORTYPE_HSI;
  RCC_OscInitStruct.HSIState = RCC_HSI_ON;
  RCC_OscInitStruct.HSICalibrationValue = RCC_HSICALIBRATION_DEFAULT;
  RCC_OscInitStruct.PLL.PLLState = RCC_PLL_NONE;
  if (HAL_RCC_OscConfig(&RCC_OscInitStruct) != HAL_OK)
  {
    Error_Handler();
  }

  /** Initializes the CPU, AHB and APB buses clocks
  */
  RCC_ClkInitStruct.ClockType = RCC_CLOCKTYPE_HCLK|RCC_CLOCKTYPE_SYSCLK
                              |RCC_CLOCKTYPE_PCLK1|RCC_CLOCKTYPE_PCLK2;
  RCC_ClkInitStruct.SYSCLKSource = RCC_SYSCLKSOURCE_HSI;
  RCC_ClkInitStruct.AHBCLKDivider = RCC_SYSCLK_DIV1;
  RCC_ClkInitStruct.APB1CLKDivider = RCC_HCLK_DIV1;
  RCC_ClkInitStruct.APB2CLKDivider = RCC_HCLK_DIV1;

  if (HAL_RCC_ClockConfig(&RCC_ClkInitStruct, FLASH_LATENCY_0) != HAL_OK)
  {
    Error_Handler();
  }
}

/* USER CODE BEGIN 4 */
void HAL_ADC_ConvHalfCpltCallback(ADC_HandleTypeDef* hadc)
{
    if (calibration_in_progress && !measurement_running) {
        ic1_cal_sum += adc1_buffer[0][2];  // IC1 is at index 2 in ADC1
        ic2_cal_sum += adc1_buffer[0][1];  // IC2 is at index 1 in ADC1
        ic3_cal_sum += adc2_buffer[0][1];  // IC3 is at index 1 in ADC2
        calibration_sample_count++;
        CheckAndCompleteCalibration();
        return;
    }

    if (!measurement_running)
        return;

    uint64_t current_ticks = GetTimerTicks();

    // Half-transfer means buffer[0] is ready
    if(hadc->Instance == ADC1) {
        adc_half_flags |= 0x01;
    } else if(hadc->Instance == ADC2) {
        adc_half_flags |= 0x02;
    } else if(hadc->Instance == ADC5) {
        adc_half_flags |= 0x08;
    }

    if(adc_half_flags == 0x0B) {
        // All ADCs half-transfer complete
        pending_data.adc1_idx = 0;
        pending_data.adc2_idx = 0;
        pending_data.adc5_idx = 0;
        pending_data.timestamp = current_ticks;
        adc_half_flags = 0;  // Reset for next cycle
        data_ready_to_send = true;
        TransmitDataPacket();
    }
}

void HAL_ADC_ConvCpltCallback(ADC_HandleTypeDef* hadc)
{
    if (calibration_in_progress && !measurement_running) {
        ic1_cal_sum += adc1_buffer[1][2];  // IC1 is at index 2 in ADC1
        ic2_cal_sum += adc1_buffer[1][1];  // IC2 is at index 1 in ADC1
        ic3_cal_sum += adc2_buffer[1][1];  // IC3 is at index 1 in ADC2
        calibration_sample_count++;
        CheckAndCompleteCalibration();
        return;
    }

    if (!measurement_running)
        return;
    uint64_t current_ticks = GetTimerTicks();

    // Full-transfer means buffer[1] is ready
    if(hadc->Instance == ADC1) {
        adc_full_flags |= 0x01;
    } else if(hadc->Instance == ADC2) {
        adc_full_flags |= 0x02;
    } else if(hadc->Instance == ADC5) {
        adc_full_flags |= 0x08;
    }

    if(adc_full_flags == 0x0B) {
        // All ADCs full-transfer complete
        pending_data.adc1_idx = 1;
        pending_data.adc2_idx = 1;
        pending_data.adc5_idx = 1;
        pending_data.timestamp = current_ticks;
        adc_full_flags = 0;  // Reset for next cycle
        data_ready_to_send = true;
        TransmitDataPacket();
    }
}

void HAL_TIM_PeriodElapsedCallback(TIM_HandleTypeDef *htim)
{
    if(htim->Instance == TIM2)
    {
        tim2_overflow_count++;         // TIM2 overflow occurred - increment counter
    }
    else if(htim->Instance == TIM3)
    {

    }

}

void HAL_TIM_PWM_PulseFinishedCallback(TIM_HandleTypeDef *htim)
{
     if(htim->Instance == TIM4)
     {
    	 if (htim->Channel == HAL_TIM_ACTIVE_CHANNEL_3)
    	 {
    		 if (pulse_state == 0) {
    			 ActivateSmallSampleMode();
    		 } else {
    			 DeactivateSmallSampleMode();
    		 }
    	 }
    	 else if (htim->Channel == HAL_TIM_ACTIVE_CHANNEL_4)
    	 {
    		 if (pulse_state == 0)
    		 {
    			 HAL_DAC_SetValue(&hdac1, DAC_CHANNEL_2, DAC_ALIGN_12B_R, DAC_VALUE);
    			 pulse_state = 1;
    		 }
    		 else
    		 {
    			 HAL_DAC_SetValue(&hdac1, DAC_CHANNEL_2, DAC_ALIGN_12B_R, 0);
    			 pulse_state = 0;
    		 }
    	 }
     }
}

void HAL_GPIO_EXTI_Callback(uint16_t GPIO_Pin)
{
    uint32_t current_time = HAL_GetTick();
    if ((current_time - last_button_press) < DEBOUNCE_DELAY_MS)
        return;
    last_button_press = current_time;

    if (GPIO_Pin == S1_Pin)
    {
    	EmergencyStop();
    }

    else if (GPIO_Pin == S2_Pin)
    {
        if (calibration_in_progress)
            return;

        if (!measurement_running) {
            StartMeasurement();
        } else {
            StopMeasurement();
        }
    }

    else if (GPIO_Pin == S3_Pin)
    {
    	StartCalibration();
    }
    else if (GPIO_Pin == S4_Pin)
    {
        if (!measurement_running) {
            const char* msg = "Cannot start analysis. Start measurement first (S2).\r\n";
            HAL_UART_Transmit(&huart2, (uint8_t*)msg, strlen(msg), HAL_MAX_DELAY);
            return;
        }

        if (dac_enabled) {
            dac_enabled               = false;
            resistive_analysis_active = false;
            rt_windows_completed      = 0;
            rt_window_active          = false;
            Analysis_Reset(&g_analysis);
            DeactivateSmallSampleMode();
            HAL_GPIO_WritePin(LD5_GPIO_Port, LD5_Pin, GPIO_PIN_RESET);
            char cancel_msg[64];
            snprintf(cancel_msg, sizeof(cancel_msg), "S4: %s discharge cancelled.\r\n",
                (s4_load_type == LOAD_TYPE_RESISTIVE) ? "CR" : "CC");
            HAL_UART_Transmit(&huart2, (uint8_t*)cancel_msg, strlen(cancel_msg), HAL_MAX_DELAY);
            return;
        }
        if (!voltage_safe) {
            const char* msg = "S4 blocked: voltage not in safe region yet.\r\n";
            HAL_UART_Transmit(&huart2, (uint8_t*)msg, strlen(msg), HAL_MAX_DELAY);
            return;
        }

        Analysis_Init(&g_analysis, THRESHOLD_LOW);
        rt_windows_completed      = 0;
        rt_window_active          = false;
        resistive_analysis_active = true;
        dac_enabled               = true;

        pulse_state = 0;

        memset(adc1_accumulator, 0, sizeof(adc1_accumulator));
        memset(adc2_accumulator, 0, sizeof(adc2_accumulator));
        memset(adc5_accumulator, 0, sizeof(adc5_accumulator));
        sample_count        = 0;
        avg_start_timestamp = 0;

        HAL_GPIO_WritePin(LD4_GPIO_Port, LD4_Pin, GPIO_PIN_SET);
        ActivateSmallSampleMode();

        char arm_msg[96];
        snprintf(arm_msg, sizeof(arm_msg),
            "S4 armed: %s load mode.\r\nSwitch load now. Capturing discharge...\r\n",
            (s4_load_type == LOAD_TYPE_RESISTIVE) ? "RESISTIVE" : "CONST-CURRENT");
        HAL_UART_Transmit(&huart2, (uint8_t*)arm_msg, strlen(arm_msg), HAL_MAX_DELAY);
    }
    else if (GPIO_Pin == S5_Pin)  // PC1: S5
    {
        if (!measurement_running) {
            const char* msg = "Start measurement first (S2).\r\n";
            HAL_UART_Transmit(&huart2, (uint8_t*)msg, strlen(msg), HAL_MAX_DELAY);
            return;
        }

        if (dac_enabled) {
            dac_enabled               = false;
            rt_windows_completed      = 0;
            rt_window_active          = false;
            pulse_state               = 0;
            analysis_trigger_pending  = false;

            HAL_TIM_PWM_Stop_IT(&htim4, TIM_CHANNEL_3);
            HAL_TIM_PWM_Stop_IT(&htim4, TIM_CHANNEL_4);
            HAL_DAC_Stop(&hdac1, DAC_CHANNEL_2);
            HAL_DAC_SetValue(&hdac1, DAC_CHANNEL_2, DAC_ALIGN_12B_R, 0);

            Analysis_Reset(&g_analysis);
            DeactivateSmallSampleMode();
            HAL_GPIO_WritePin(LD5_GPIO_Port, LD5_Pin, GPIO_PIN_RESET);

            const char* msg = "S5: CC discharge cancelled.\r\n";
            HAL_UART_Transmit(&huart2, (uint8_t*)msg, strlen(msg), HAL_MAX_DELAY);
            return;
        }
        if (!voltage_safe) {
            const char* msg = "S5 blocked: voltage not in safe region yet.\r\n";
            HAL_UART_Transmit(&huart2, (uint8_t*)msg, strlen(msg), HAL_MAX_DELAY);
            return;
        }

        Analysis_Init(&g_analysis, THRESHOLD_LOW);
        rt_windows_completed = 0;
        rt_window_active     = false;
        dac_enabled          = true;

        HAL_GPIO_WritePin(LD5_GPIO_Port, LD5_Pin, GPIO_PIN_SET);

        memset(adc1_accumulator, 0, sizeof(adc1_accumulator));
        memset(adc2_accumulator, 0, sizeof(adc2_accumulator));
        memset(adc5_accumulator, 0, sizeof(adc5_accumulator));
        sample_count        = 0;
        avg_start_timestamp = 0;

        HAL_DAC_Start(&hdac1, DAC_CHANNEL_2);
        HAL_DAC_SetValue(&hdac1, DAC_CHANNEL_2, DAC_ALIGN_12B_R, 0);

        pulse_state = 0;
        HAL_TIM_PWM_Init(&htim4);
        HAL_TIM_PWM_Start_IT(&htim4, TIM_CHANNEL_3);
        HAL_TIM_PWM_Start_IT(&htim4, TIM_CHANNEL_4);

        const char *msg = "Discharge started. Collecting data...\r\n";
        HAL_UART_Transmit(&huart2, (uint8_t*)msg, strlen(msg), HAL_MAX_DELAY);
    }
}

void HAL_UART_TxCpltCallback(UART_HandleTypeDef *huart)
{
    if(huart->Instance == USART2) {
    }
}

/* USER CODE END 4 */

void Error_Handler(void)
{
  __disable_irq();
  while (1)
  {
  }
}
